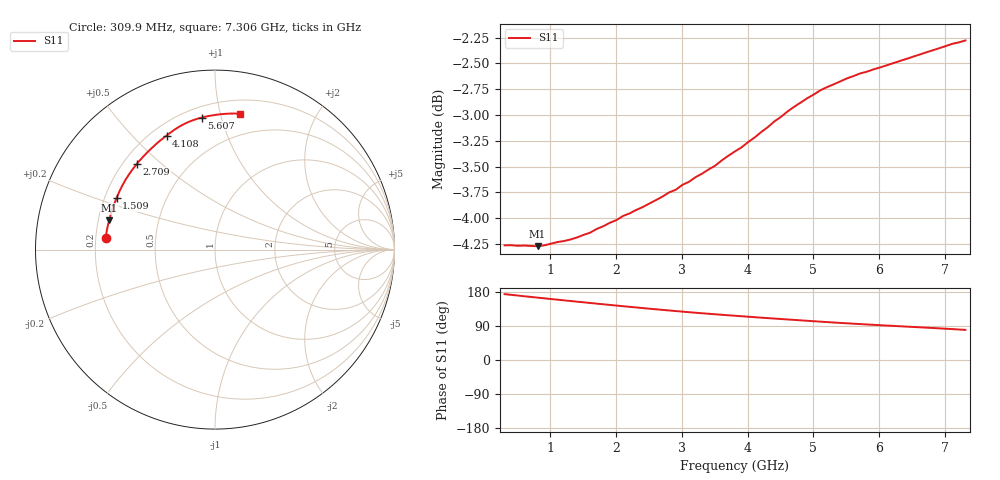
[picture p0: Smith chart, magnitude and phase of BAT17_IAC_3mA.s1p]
! Infineon Technologies  Discrete & RF Semiconductors
! BAT17
! IAC = 3 mA
! One-Port S-Parameters
# Hz  S  MA  R  50
!f  S11
!Hz  Mag  Ang
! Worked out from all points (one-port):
!   71 points, 309.9 MHz to 7.306 GHz, reference 50 ohm
!   lowest |S11| = -4.3 dB at 809.6 MHz (marker M1), VSWR 4.15, Z = 12.3 + j6.36 ohm
!   |S11| at or under -10 dB: nowhere
!   S11 on the Smith chart (normalised r, x): 309.9 MHz: 0.24, +0.05; 1.509 GHz: 0.25, +0.23; 2.709 GHz: 0.25, +0.42; 4.108 GHz: 0.26, +0.63; 5.607 GHz: 0.27, +0.87; 7.306 GHz: 0.31, +1.15
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3.0985e8  0.6121 173.8
6.097e8  0.6119 168.2
8.096e8  0.6115 164.6
1.0095e9  0.6131 161.0
1.10945e9  0.6143 159.3
1.2094e9  0.615 157.5
1.50925e9  0.6193 152.3
1.90905e9  0.6277 145.3
2.10895e9  0.6325 141.9
2.4088e9  0.6388 137.0
2.70865e9  0.6464 132.2
2.8086e9  0.6493 130.7
3.0085e9  0.6548 127.6
3.30835e9  0.6631 123.3
3.6082e9  0.673 119.3
3.8081e9  0.6798 116.7
4.10795e9  0.6904 113.0
4.4078e9  0.7029 109.3
4.70765e9  0.7145 105.8
5.10745e9  0.7278 101.1
5.4073e9  0.735 97.8
5.6072e9  0.7394 95.8
6.007e9  0.7465 91.9
6.50675e9  0.7555 87.2
6.90655e9  0.7627 83.5
7.0065e9  0.7645 82.5
7.10645e9  0.7665 81.6
7.30635e9  0.7694 79.5
